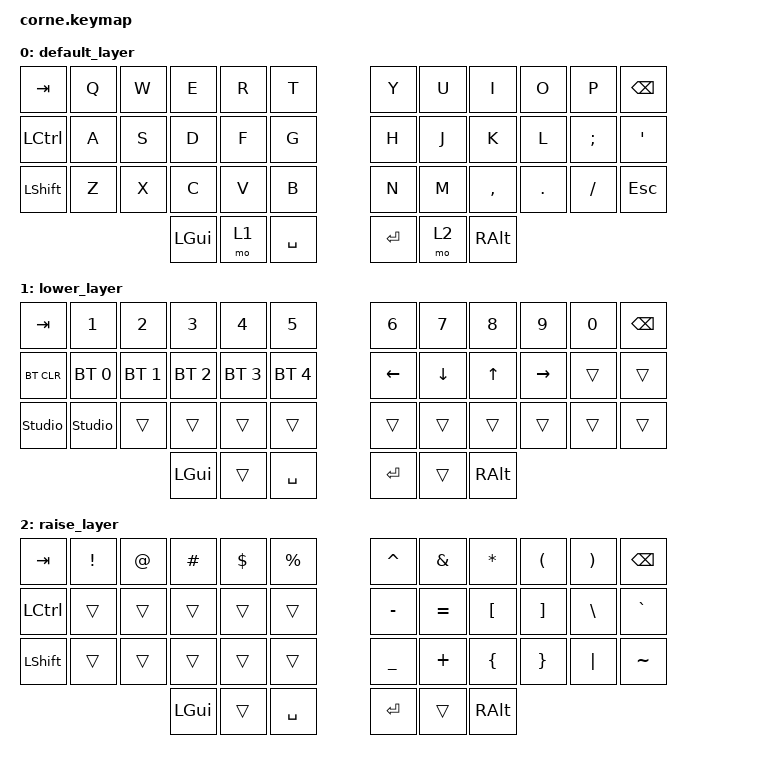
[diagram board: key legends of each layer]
/*
 * Copyright (c) 2020 The ZMK Contributors
 *
 * SPDX-License-Identifier: MIT
 */

#include <behaviors.dtsi>
#include <dt-bindings/zmk/keys.h>
#include <dt-bindings/zmk/bt.h>

/ {
        keymap {
                compatible = "zmk,keymap";

                default_layer {
// -----------------------------------------------------------------------------------------
// |  TAB |  Q  |  W  |  E  |  R  |  T  |   |  Y  |  U   |  I  |  O  |  P  | BKSP |
// | CTRL |  A  |  S  |  D  |  F  |  G  |   |  H  |  J   |  K  |  L  |  ;  |  '   |
// | SHFT |  Z  |  X  |  C  |  V  |  B  |   |  N  |  M   |  ,  |  .  |  /  | ESC  |
//                    | GUI | LWR | SPC |   | ENT | RSE  | ALT |
                        bindings = <
   &kp TAB   &kp Q &kp W &kp E &kp R &kp T   &kp Y &kp U  &kp I     &kp O   &kp P    &kp BSPC
   &kp LCTRL &kp A &kp S &kp D &kp F &kp G   &kp H &kp J  &kp K     &kp L   &kp SEMI &kp SQT
   &kp LSHFT &kp Z &kp X &kp C &kp V &kp B   &kp N &kp M  &kp COMMA &kp DOT &kp FSLH &kp ESC
                  &kp LGUI &mo 1 &kp SPACE   &kp RET &mo 2 &kp RALT
                        >;
                };
                lower_layer {
// -----------------------------------------------------------------------------------------
// |  TAB |  1  |  2  |  3  |  4  |  5  |   |  6  |  7  |  8  |  9  |  0  | BKSP |
// | BTCLR| BT1 | BT2 | BT3 | BT4 | BT5 |   | LFT | DWN |  UP | RGT |     |      |
// | SHFT |     |     |     |     |     |   |     |     |     |     |     |      |
//                    | GUI |     | SPC |   | ENT |     | ALT |
                        bindings = <
   &kp TAB    &kp N1       &kp N2       &kp N3       &kp N4       &kp N5         &kp N6   &kp N7   &kp N8 &kp N9    &kp N0 &kp BSPC
   &bt BT_CLR &bt BT_SEL 0 &bt BT_SEL 1 &bt BT_SEL 2 &bt BT_SEL 3 &bt BT_SEL 4   &kp LEFT &kp DOWN &kp UP &kp RIGHT &trans &trans
   &studio_unlock  &studio_unlock       &trans       &trans       &trans       &trans         &trans   &trans   &trans &trans    &trans &trans
                                    &kp LGUI     &trans       &kp SPACE      &kp RET  &trans   &kp RALT
                        >;
                };

                raise_layer {
// -----------------------------------------------------------------------------------------
// |  TAB |  !  |  @  |  #  |  $  |  %  |   |  ^  |  &  |  *  |  (  |  )  | BKSP |
// | CTRL |     |     |     |     |     |   |  -  |  =  |  [  |  ]  |  \  |  `   |
// | SHFT |     |     |     |     |     |   |  _  |  +  |  {  |  }  | "|" |  ~   |
//                    | GUI |     | SPC |   | ENT |     | ALT |
                        bindings = <
   &kp  TAB  &kp EXCL &kp AT &kp HASH &kp DLLR &kp PRCNT   &kp CARET &kp AMPS  &kp ASTRK &kp LPAR &kp RPAR &kp BSPC
   &kp LCTRL &trans   &trans &trans   &trans   &trans      &kp MINUS &kp EQUAL &kp LBKT  &kp RBKT &kp BSLH &kp GRAVE
   &kp LSHFT &trans   &trans &trans   &trans   &trans      &kp UNDER &kp PLUS  &kp LBRC  &kp RBRC &kp PIPE &kp TILDE
                             &kp LGUI &trans   &kp SPACE   &kp RET   &trans    &kp RALT
                        
                         >;
                };

                layer_3 {
                        status = "reserved";
                };

                layer_4 {
                        status = "reserved";
                };
        };
};


/*
 * GbrTzT RGB test: 27 addressable LEDs per side, matching PandaKB
 * QMK RGB_MATRIX_SPLIT {27,27}. The standard ZMK Corne shield defaults
 * to 10 LEDs per side; override the count here without touching wiring.
 * If fewer LEDs are actually populated, adjust this chain-length.
 */
&led_strip {
    chain-length = <27>;
};
